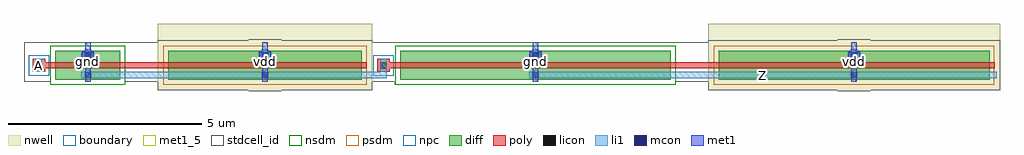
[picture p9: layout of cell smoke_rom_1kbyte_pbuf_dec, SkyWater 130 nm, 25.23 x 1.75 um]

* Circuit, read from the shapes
.subckt smoke_rom_1kbyte_pbuf_dec A Z gnd vdd
XM1 gnd A smoke_rom_1kbyte_pinv_dec_1_1/A VSUBS sky130_fd_pr__nfet_01v8 w=1.68 l=0.15
XM2 gnd smoke_rom_1kbyte_pinv_dec_1_1/A Z VSUBS sky130_fd_pr__nfet_01v8 w=7 l=0.15
XM3 vdd A smoke_rom_1kbyte_pinv_dec_1_1/A n1 sky130_fd_pr__pfet_01v8 w=5 l=0.15
XM4 vdd smoke_rom_1kbyte_pinv_dec_1_1/A Z n2 sky130_fd_pr__pfet_01v8 w=7 l=0.15
.ends

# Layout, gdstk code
from math import pi, radians
import gdstk
lib = gdstk.Library(unit=1e-6, precision=1e-09)
def R(c, l, rs):  # rectangles x0, y0, x1, y1
    for r in rs: c.add(gdstk.rectangle(r[:2], r[2:], *l))
nwell = (64, 20)
diff = (65, 20)
poly = (66, 20)
licon = (66, 44)
li1 = (67, 20)
mcon = (67, 44)
met1_5 = (68, 5)
met1 = (68, 20)
stdcell_id = (81, 4)
nsdm = (93, 44)
psdm = (94, 20)
npc = (95, 20)
boundary = (235, 4)

smoke_rom_1kbyte_contact = lib.new_cell('smoke_rom_1kbyte_contact_10')
R(smoke_rom_1kbyte_contact, nwell, [(-0.295,-0.255,0.545,0.585)])
R(smoke_rom_1kbyte_contact, diff, [(0,0.02,0.25,0.31)])
R(smoke_rom_1kbyte_contact, licon, [(0.04,0.08,0.21,0.25)])
R(smoke_rom_1kbyte_contact, li1, [(0.04,0,0.21,0.33)])
R(smoke_rom_1kbyte_contact, stdcell_id, [(-0.295,-0.255,0.545,0.585)])
R(smoke_rom_1kbyte_contact, psdm, [(-0.125,-0.105,0.375,0.435)])
R(smoke_rom_1kbyte_contact, boundary, [(-0.295,-0.255,0.545,0.585)])

smoke_rom_1kbyte_pmos_m1 = lib.new_cell('smoke_rom_1kbyte_pmos_m1_w5_000_sli_dli_da_p')
R(smoke_rom_1kbyte_pmos_m1, nwell, [(-0.27,-0.27,1.02,5.27)])
R(smoke_rom_1kbyte_pmos_m1, diff, [(0,0,0.75,5)])
R(smoke_rom_1kbyte_pmos_m1, poly, [(0.3,-0.13,0.45,5.13), (0.3,-0.13,0.45,5.13)])
R(smoke_rom_1kbyte_pmos_m1, li1, [(0.04,2.335,0.21,2.665), (0.54,2.335,0.71,2.665)])
R(smoke_rom_1kbyte_pmos_m1, stdcell_id, [(-0.27,-0.27,1.02,5.27)])
R(smoke_rom_1kbyte_pmos_m1, psdm, [(-0.125,-0.125,0.875,5.125)])
R(smoke_rom_1kbyte_pmos_m1, boundary, [(-0.27,-0.27,1.02,5.27)])
smoke_rom_1kbyte_pmos_m1.add(gdstk.Reference(smoke_rom_1kbyte_contact, (0,2.335)))
smoke_rom_1kbyte_pmos_m1.add(gdstk.Reference(smoke_rom_1kbyte_contact, (0.5,2.335)))
smoke_rom_1kbyte_pmos_m1.add(gdstk.Label('G', (0.375,2.5), layer=66, texttype=5))
smoke_rom_1kbyte_pmos_m1.add(gdstk.Label('S', (0.125,2.5), layer=67, texttype=5))
smoke_rom_1kbyte_pmos_m1.add(gdstk.Label('D', (0.625,2.5), layer=67, texttype=5))

c_smoke_rom_1kbyte_contact = lib.new_cell('smoke_rom_1kbyte_contact_8')
R(c_smoke_rom_1kbyte_contact, diff, [(0,0.02,0.25,0.31)])
R(c_smoke_rom_1kbyte_contact, licon, [(0.04,0.08,0.21,0.25)])
R(c_smoke_rom_1kbyte_contact, li1, [(0.04,0,0.21,0.33)])
R(c_smoke_rom_1kbyte_contact, stdcell_id, [(-0.125,-0.105,0.375,0.435)])
R(c_smoke_rom_1kbyte_contact, nsdm, [(-0.125,-0.105,0.375,0.435)])
R(c_smoke_rom_1kbyte_contact, boundary, [(-0.125,-0.105,0.375,0.435)])

smoke_rom_1kbyte_nmos_m1 = lib.new_cell('smoke_rom_1kbyte_nmos_m1_w1_680_sli_dli_da_p')
R(smoke_rom_1kbyte_nmos_m1, diff, [(0,0,0.75,1.68)])
R(smoke_rom_1kbyte_nmos_m1, poly, [(0.3,-0.13,0.45,1.81), (0.3,-0.13,0.45,1.81)])
R(smoke_rom_1kbyte_nmos_m1, li1, [(0.04,0.675,0.21,1.005), (0.54,0.675,0.71,1.005)])
R(smoke_rom_1kbyte_nmos_m1, stdcell_id, [(-0.125,-0.13,0.875,1.81)])
R(smoke_rom_1kbyte_nmos_m1, nsdm, [(-0.125,-0.125,0.875,1.805)])
R(smoke_rom_1kbyte_nmos_m1, boundary, [(-0.125,-0.13,0.875,1.81)])
smoke_rom_1kbyte_nmos_m1.add(gdstk.Reference(c_smoke_rom_1kbyte_contact, (0,0.675)))
smoke_rom_1kbyte_nmos_m1.add(gdstk.Reference(c_smoke_rom_1kbyte_contact, (0.5,0.675)))
smoke_rom_1kbyte_nmos_m1.add(gdstk.Label('G', (0.375,0.84), layer=66, texttype=5))
smoke_rom_1kbyte_nmos_m1.add(gdstk.Label('S', (0.125,0.84), layer=67, texttype=5))
smoke_rom_1kbyte_nmos_m1.add(gdstk.Label('D', (0.625,0.84), layer=67, texttype=5))

c_smoke_rom_1kbyte_contact_ = lib.new_cell('smoke_rom_1kbyte_contact_11')
R(c_smoke_rom_1kbyte_contact_, poly, [(0,0,0.33,0.33)])
R(c_smoke_rom_1kbyte_contact_, licon, [(0.08,0.08,0.25,0.25)])
R(c_smoke_rom_1kbyte_contact_, li1, [(0.08,0,0.25,0.33)])
R(c_smoke_rom_1kbyte_contact_, stdcell_id, [(-0.1,-0.1,0.43,0.43)])
R(c_smoke_rom_1kbyte_contact_, npc, [(-0.1,-0.1,0.43,0.43)])
R(c_smoke_rom_1kbyte_contact_, boundary, [(-0.1,-0.1,0.43,0.43)])

c_smoke_rom_1kbyte_contact__ = lib.new_cell('smoke_rom_1kbyte_contact_12')
R(c_smoke_rom_1kbyte_contact__, li1, [(0.06,0,0.23,0.33)])
R(c_smoke_rom_1kbyte_contact__, mcon, [(0.06,0.08,0.23,0.25)])
R(c_smoke_rom_1kbyte_contact__, met1, [(0,0.05,0.29,0.28)])
R(c_smoke_rom_1kbyte_contact__, stdcell_id, [(0,0,0.29,0.33)])
R(c_smoke_rom_1kbyte_contact__, boundary, [(0,0,0.29,0.33)])

smoke_rom_1kbyte_pinv_de = lib.new_cell('smoke_rom_1kbyte_pinv_dec_0')
R(smoke_rom_1kbyte_pinv_de, nwell, [(3.46,0,9,1.495)])
R(smoke_rom_1kbyte_pinv_de, poly, [(0.385,0.345,0.68,0.495), (2.62,0.345,3.6,0.495)])
R(smoke_rom_1kbyte_pinv_de, li1, [(1.485,0.085,8.91,0.255), (0.3,0.255,0.47,0.585)])
R(smoke_rom_1kbyte_pinv_de, met1_5, [(1.58,0,1.72,1.02), (6.16,0,6.3,1.02)])
R(smoke_rom_1kbyte_pinv_de, met1, [(1.58,0,1.72,1.02), (6.16,0,6.3,1.02)])
R(smoke_rom_1kbyte_pinv_de, stdcell_id, [(0,0,8.91,1.02), (0,0,8.91,1.02)])
R(smoke_rom_1kbyte_pinv_de, nsdm, [(0.685,0,2.615,0.795)])
R(smoke_rom_1kbyte_pinv_de, psdm, [(3.605,0,8.855,0.795)])
R(smoke_rom_1kbyte_pinv_de, boundary, [(0,0,8.91,1.02), (0,0,8.91,1.02)])
smoke_rom_1kbyte_pinv_de.add(gdstk.Reference(smoke_rom_1kbyte_pmos_m1, (3.73,0.795), rotation=3*pi/2))
smoke_rom_1kbyte_pinv_de.add(gdstk.Reference(smoke_rom_1kbyte_nmos_m1, (0.81,0.795), rotation=3*pi/2))
smoke_rom_1kbyte_pinv_de.add(gdstk.Reference(c_smoke_rom_1kbyte_contact_, (0.22,0.255)))
smoke_rom_1kbyte_pinv_de.add(gdstk.Reference(c_smoke_rom_1kbyte_contact__, (1.505,0.505)))
smoke_rom_1kbyte_pinv_de.add(gdstk.Reference(c_smoke_rom_1kbyte_contact__, (6.085,0.505)))
smoke_rom_1kbyte_pinv_de.add(gdstk.Label('A', (0.385,0.42), layer=67, texttype=5))
smoke_rom_1kbyte_pinv_de.add(gdstk.Label('Z', (5.198,0.17), layer=67, texttype=5))
smoke_rom_1kbyte_pinv_de.add(gdstk.Label('gnd', (1.65,0.51), layer=68, texttype=5))
smoke_rom_1kbyte_pinv_de.add(gdstk.Label('vdd', (6.23,0.51), layer=68, texttype=5))

c_smoke_rom_1kbyte_pmos_m1 = lib.new_cell('smoke_rom_1kbyte_pmos_m1_w7_000_sli_dli_da_p')
R(c_smoke_rom_1kbyte_pmos_m1, nwell, [(-0.27,-0.27,1.02,7.27)])
R(c_smoke_rom_1kbyte_pmos_m1, diff, [(0,0,0.75,7)])
R(c_smoke_rom_1kbyte_pmos_m1, poly, [(0.3,-0.13,0.45,7.13), (0.3,-0.13,0.45,7.13)])
R(c_smoke_rom_1kbyte_pmos_m1, li1, [(0.04,3.335,0.21,3.665), (0.54,3.335,0.71,3.665)])
R(c_smoke_rom_1kbyte_pmos_m1, stdcell_id, [(-0.27,-0.27,1.02,7.27)])
R(c_smoke_rom_1kbyte_pmos_m1, psdm, [(-0.125,-0.125,0.875,7.125)])
R(c_smoke_rom_1kbyte_pmos_m1, boundary, [(-0.27,-0.27,1.02,7.27)])
c_smoke_rom_1kbyte_pmos_m1.add(gdstk.Reference(smoke_rom_1kbyte_contact, (0,3.335)))
c_smoke_rom_1kbyte_pmos_m1.add(gdstk.Reference(smoke_rom_1kbyte_contact, (0.5,3.335)))
c_smoke_rom_1kbyte_pmos_m1.add(gdstk.Label('G', (0.375,3.5), layer=66, texttype=5))
c_smoke_rom_1kbyte_pmos_m1.add(gdstk.Label('S', (0.125,3.5), layer=67, texttype=5))
c_smoke_rom_1kbyte_pmos_m1.add(gdstk.Label('D', (0.625,3.5), layer=67, texttype=5))

c_smoke_rom_1kbyte_nmos_m1 = lib.new_cell('smoke_rom_1kbyte_nmos_m1_w7_000_sli_dli_da_p')
R(c_smoke_rom_1kbyte_nmos_m1, diff, [(0,0,0.75,7)])
R(c_smoke_rom_1kbyte_nmos_m1, poly, [(0.3,-0.13,0.45,7.13), (0.3,-0.13,0.45,7.13)])
R(c_smoke_rom_1kbyte_nmos_m1, li1, [(0.04,3.335,0.21,3.665), (0.54,3.335,0.71,3.665)])
R(c_smoke_rom_1kbyte_nmos_m1, stdcell_id, [(-0.125,-0.13,0.875,7.13)])
R(c_smoke_rom_1kbyte_nmos_m1, nsdm, [(-0.125,-0.125,0.875,7.125)])
R(c_smoke_rom_1kbyte_nmos_m1, boundary, [(-0.125,-0.13,0.875,7.13)])
c_smoke_rom_1kbyte_nmos_m1.add(gdstk.Reference(c_smoke_rom_1kbyte_contact, (0,3.335)))
c_smoke_rom_1kbyte_nmos_m1.add(gdstk.Reference(c_smoke_rom_1kbyte_contact, (0.5,3.335)))
c_smoke_rom_1kbyte_nmos_m1.add(gdstk.Label('G', (0.375,3.5), layer=66, texttype=5))
c_smoke_rom_1kbyte_nmos_m1.add(gdstk.Label('S', (0.125,3.5), layer=67, texttype=5))
c_smoke_rom_1kbyte_nmos_m1.add(gdstk.Label('D', (0.625,3.5), layer=67, texttype=5))

c_smoke_rom_1kbyte_pinv_de = lib.new_cell('smoke_rom_1kbyte_pinv_dec_1')
R(c_smoke_rom_1kbyte_pinv_de, nwell, [(8.78,0,16.32,1.495)])
R(c_smoke_rom_1kbyte_pinv_de, poly, [(0.385,0.345,0.68,0.495), (7.94,0.345,8.92,0.495)])
R(c_smoke_rom_1kbyte_pinv_de, li1, [(4.145,0.085,16.23,0.255), (0.3,0.255,0.47,0.585)])
R(c_smoke_rom_1kbyte_pinv_de, met1_5, [(4.24,0,4.38,1.02), (12.48,0,12.62,1.02)])
R(c_smoke_rom_1kbyte_pinv_de, met1, [(4.24,0,4.38,1.02), (12.48,0,12.62,1.02)])
R(c_smoke_rom_1kbyte_pinv_de, stdcell_id, [(0,0,16.23,1.02), (0,0,16.23,1.02)])
R(c_smoke_rom_1kbyte_pinv_de, nsdm, [(0.685,0,7.935,0.795)])
R(c_smoke_rom_1kbyte_pinv_de, psdm, [(8.925,0,16.175,0.795)])
R(c_smoke_rom_1kbyte_pinv_de, boundary, [(0,0,16.23,1.02), (0,0,16.23,1.02)])
c_smoke_rom_1kbyte_pinv_de.add(gdstk.Reference(c_smoke_rom_1kbyte_pmos_m1, (9.05,0.795), rotation=3*pi/2))
c_smoke_rom_1kbyte_pinv_de.add(gdstk.Reference(c_smoke_rom_1kbyte_nmos_m1, (0.81,0.795), rotation=3*pi/2))
c_smoke_rom_1kbyte_pinv_de.add(gdstk.Reference(c_smoke_rom_1kbyte_contact_, (0.22,0.255)))
c_smoke_rom_1kbyte_pinv_de.add(gdstk.Reference(c_smoke_rom_1kbyte_contact__, (4.165,0.505)))
c_smoke_rom_1kbyte_pinv_de.add(gdstk.Reference(c_smoke_rom_1kbyte_contact__, (12.405,0.505)))
c_smoke_rom_1kbyte_pinv_de.add(gdstk.Label('A', (0.385,0.42), layer=67, texttype=5))
c_smoke_rom_1kbyte_pinv_de.add(gdstk.Label('Z', (10.188,0.17), layer=67, texttype=5))
c_smoke_rom_1kbyte_pinv_de.add(gdstk.Label('gnd', (4.31,0.51), layer=68, texttype=5))
c_smoke_rom_1kbyte_pinv_de.add(gdstk.Label('vdd', (12.55,0.51), layer=68, texttype=5))

smoke_rom_1kbyte_pbuf_de = lib.new_cell('smoke_rom_1kbyte_pbuf_dec')
R(smoke_rom_1kbyte_pbuf_de, li1, [(8.91,0.085,9.295,0.255), (9.21,0.085,9.38,0.255), (13.055,0.085,25.14,0.255), (9.21,0.17,9.38,0.42), (0.3,0.255,0.47,0.585), (9.21,0.335,9.38,0.505), (9.21,0.335,9.295,0.505)])
R(smoke_rom_1kbyte_pbuf_de, met1_5, [(1.58,0,1.72,1.02), (6.16,0,6.3,1.02), (13.15,0,13.29,1.02), (21.39,0,21.53,1.02)])
R(smoke_rom_1kbyte_pbuf_de, met1, [(1.58,0,1.72,1.02), (6.16,0,6.3,1.02), (13.15,0,13.29,1.02), (21.39,0,21.53,1.02)])
R(smoke_rom_1kbyte_pbuf_de, stdcell_id, [(0,0,25.14,1.02), (0,0,25.14,1.02)])
R(smoke_rom_1kbyte_pbuf_de, boundary, [(0,0,25.14,1.02), (0,0,25.14,1.02)])
smoke_rom_1kbyte_pbuf_de.add(gdstk.Reference(smoke_rom_1kbyte_pinv_de, (0,0)))
smoke_rom_1kbyte_pbuf_de.add(gdstk.Reference(c_smoke_rom_1kbyte_pinv_de, (8.91,0)))
smoke_rom_1kbyte_pbuf_de.add(gdstk.Label('Z', (19.098,0.17), layer=67, texttype=5))
smoke_rom_1kbyte_pbuf_de.add(gdstk.Label('A', (0.385,0.42), layer=67, texttype=5))
smoke_rom_1kbyte_pbuf_de.add(gdstk.Label('vdd', (6.23,0.51), layer=68, texttype=5))
smoke_rom_1kbyte_pbuf_de.add(gdstk.Label('vdd', (21.46,0.51), layer=68, texttype=5))
smoke_rom_1kbyte_pbuf_de.add(gdstk.Label('gnd', (13.22,0.51), layer=68, texttype=5))
smoke_rom_1kbyte_pbuf_de.add(gdstk.Label('gnd', (1.65,0.51), layer=68, texttype=5))

lib.write_gds('smoke_rom_1kbyte_pbuf_dec.gds')
